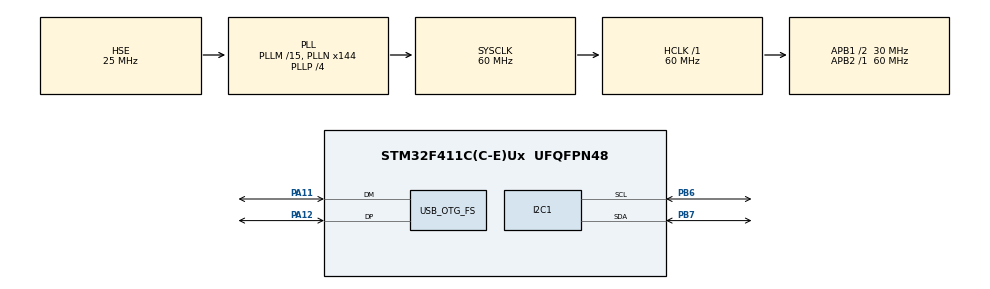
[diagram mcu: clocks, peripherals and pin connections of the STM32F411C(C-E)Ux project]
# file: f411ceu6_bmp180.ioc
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Mcu.Family=STM32F4
USB_DEVICE.CLASS_NAME_FS=CDC
RCC.CortexFreq_Value=60000000
USB_DEVICE.VirtualModeFS=Cdc_FS
PH1\ -\ OSC_OUT.Mode=HSE-External-Oscillator
PA11.Mode=Device_Only
RCC.APB1CLKDivider=RCC_HCLK_DIV2
RCC.SYSCLKSource=RCC_SYSCLKSOURCE_PLLCLK
ProjectManager.StackSize=0x400
PA13.Signal=SYS_JTMS-SWDIO
PA12.Signal=USB_OTG_FS_DP
PH0\ -\ OSC_IN.Mode=HSE-External-Oscillator
PH0\ -\ OSC_IN.Signal=RCC_OSC_IN
ProjectManager.TargetToolchain=STM32CubeIDE
RCC.HCLKFreq_Value=60000000
VP_USB_DEVICE_VS_USB_DEVICE_CDC_FS.Mode=CDC_FS
RCC.APB2TimFreq_Value=60000000
PB6.Signal=I2C1_SCL
PB6.Mode=I2C
RCC.LSE_VALUE=32768
RCC.AHBFreq_Value=60000000
RCC.HSE_VALUE=25000000
PH1\ -\ OSC_OUT.Signal=RCC_OSC_OUT
board=custom
RCC.VCOOutputFreq_Value=240000000
RCC.APB2Freq_Value=60000000
PA14.Mode=Serial_Wire
PB7.Signal=I2C1_SDA
PA13.Mode=Serial_Wire
Mcu.Name=STM32F411C(C-E)Ux
RCC.48MHZClocksFreq_Value=48000000
RCC.SYSCLKFreq_VALUE=60000000
Mcu.Package=UFQFPN48
PA12.Mode=Device_Only
NVIC.OTG_FS_IRQn=true\:0\:0\:false\:false\:true\:false\:true
PB7.Mode=I2C
PA11.Signal=USB_OTG_FS_DM
PA14.Signal=SYS_JTCK-SWCLK
USB_OTG_FS.VirtualMode=Device_Only
ProjectManager.HeapSize=0x200
RCC.HSI_VALUE=16000000
RCC.PLLP=RCC_PLLP_DIV4
RCC.PLLQ=5
NVIC.PriorityGroup=NVIC_PRIORITYGROUP_4
RCC.PLLM=15
RCC.PLLN=144
RCC.APB1TimFreq_Value=60000000
RCC.APB1Freq_Value=30000000
USB_DEVICE.VirtualMode=Cdc

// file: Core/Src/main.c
/* USER CODE BEGIN Header */
/**
  ******************************************************************************
  * @file           : main.c
  * @brief          : Main program body
  ******************************************************************************
  * @attention
  *
  * <h2><center>&copy; Copyright (c) 2021 STMicroelectronics.
  * All rights reserved.</center></h2>
  *
  * This software component is licensed by ST under BSD 3-Clause license,
  * the "License"; You may not use this file except in compliance with the
  * License. You may obtain a copy of the License at:
  *                        opensource.org/licenses/BSD-3-Clause
  *
  ******************************************************************************
  */
/* USER CODE END Header */
#include "main.h"
#include "usb_device.h"

/* USER CODE BEGIN Includes */
#include "BMP180.h"
/* USER CODE END Includes */

I2C_HandleTypeDef hi2c1;

void SystemClock_Config(void);
static void MX_GPIO_Init(void);
static void MX_I2C1_Init(void);

/* USER CODE BEGIN 0 */
float Temp;
float Pressude;
float Altitude;
char buffer[20];
/* USER CODE END 0 */

int main(void)
{

  /* MCU Configuration--------------------------------------------------------*/

  /* Reset of all peripherals, Initializes the Flash interface and the Systick. */
  HAL_Init();

  /* Configure the system clock */
  SystemClock_Config();

  /* Initialize all configured peripherals */
  MX_GPIO_Init();
  MX_I2C1_Init();
  MX_USB_DEVICE_Init();
  /* USER CODE BEGIN 2 */
  BMP180_Start();
  /* USER CODE END 2 */

  /* Infinite loop */
  while (1)
  {

    /* USER CODE BEGIN 3 */
	  Temp = BMP180_GetTemp();
	  sprintf(buffer,"Temperature:%.2f\n",Temp);
	  CDC_Transmit_FS(buffer,sizeof(buffer));
	  HAL_Delay(1000);
	  Pressude=BMP180_GetPress(0);
	  sprintf(buffer,"Pressude:%.2f\n",Pressude);
	  CDC_Transmit_FS(buffer,sizeof(buffer));
	  HAL_Delay(1000);
	  Altitude=BMP180_GetAlt(0);
	  sprintf(buffer,"Altitude:%.2f\n",Altitude);
	  CDC_Transmit_FS(buffer,sizeof(buffer));
	  HAL_Delay(1000);
  }
  /* USER CODE END 3 */
}

void SystemClock_Config(void)
{
  RCC_OscInitTypeDef RCC_OscInitStruct = {0};
  RCC_ClkInitTypeDef RCC_ClkInitStruct = {0};

  /** Configure the main internal regulator output voltage
  */
  __HAL_RCC_PWR_CLK_ENABLE();
  __HAL_PWR_VOLTAGESCALING_CONFIG(PWR_REGULATOR_VOLTAGE_SCALE1);
  /** Initializes the RCC Oscillators according to the specified parameters
  * in the RCC_OscInitTypeDef structure.
  */
  RCC_OscInitStruct.OscillatorType = RCC_OSCILLATORTYPE_HSE;
  RCC_OscInitStruct.HSEState = RCC_HSE_ON;
  RCC_OscInitStruct.PLL.PLLState = RCC_PLL_ON;
  RCC_OscInitStruct.PLL.PLLSource = RCC_PLLSOURCE_HSE;
  RCC_OscInitStruct.PLL.PLLM = 15;
  RCC_OscInitStruct.PLL.PLLN = 144;
  RCC_OscInitStruct.PLL.PLLP = RCC_PLLP_DIV4;
  RCC_OscInitStruct.PLL.PLLQ = 5;
  if (HAL_RCC_OscConfig(&RCC_OscInitStruct) != HAL_OK)
  {
    Error_Handler();
  }
  /** Initializes the CPU, AHB and APB buses clocks
  */
  RCC_ClkInitStruct.ClockType = RCC_CLOCKTYPE_HCLK|RCC_CLOCKTYPE_SYSCLK
                              |RCC_CLOCKTYPE_PCLK1|RCC_CLOCKTYPE_PCLK2;
  RCC_ClkInitStruct.SYSCLKSource = RCC_SYSCLKSOURCE_PLLCLK;
  RCC_ClkInitStruct.AHBCLKDivider = RCC_SYSCLK_DIV1;
  RCC_ClkInitStruct.APB1CLKDivider = RCC_HCLK_DIV2;
  RCC_ClkInitStruct.APB2CLKDivider = RCC_HCLK_DIV1;

  if (HAL_RCC_ClockConfig(&RCC_ClkInitStruct, FLASH_LATENCY_1) != HAL_OK)
  {
    Error_Handler();
  }
}

static void MX_I2C1_Init(void)
{

  hi2c1.Instance = I2C1;
  hi2c1.Init.ClockSpeed = 100000;
  hi2c1.Init.DutyCycle = I2C_DUTYCYCLE_2;
  hi2c1.Init.OwnAddress1 = 0;
  hi2c1.Init.AddressingMode = I2C_ADDRESSINGMODE_7BIT;
  hi2c1.Init.DualAddressMode = I2C_DUALADDRESS_DISABLE;
  hi2c1.Init.OwnAddress2 = 0;
  hi2c1.Init.GeneralCallMode = I2C_GENERALCALL_DISABLE;
  hi2c1.Init.NoStretchMode = I2C_NOSTRETCH_DISABLE;
  if (HAL_I2C_Init(&hi2c1) != HAL_OK)
  {
    Error_Handler();
  }

}

static void MX_GPIO_Init(void)
{

  /* GPIO Ports Clock Enable */
  __HAL_RCC_GPIOH_CLK_ENABLE();
  __HAL_RCC_GPIOA_CLK_ENABLE();
  __HAL_RCC_GPIOB_CLK_ENABLE();

}

void Error_Handler(void)
{
  __disable_irq();
  while (1)
  {
  }
}

/************************ (C) COPYRIGHT STMicroelectronics *****END OF FILE****/
